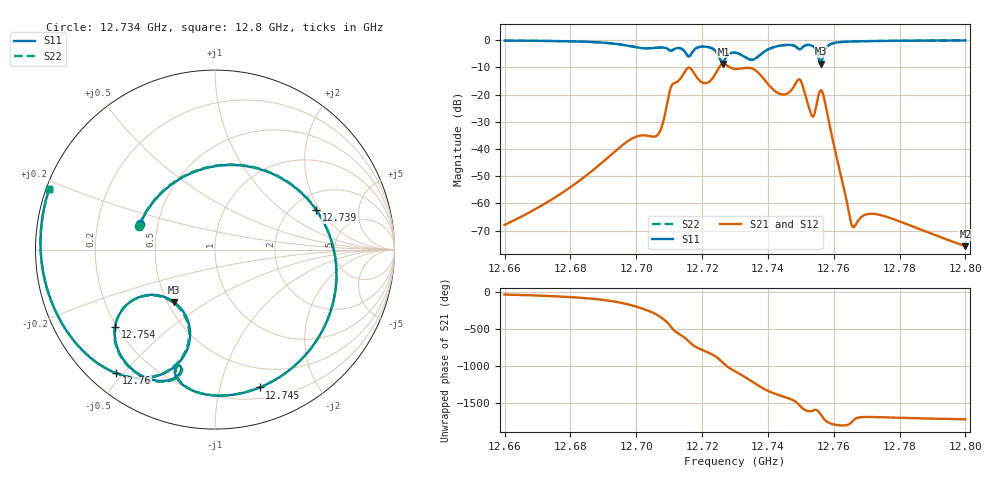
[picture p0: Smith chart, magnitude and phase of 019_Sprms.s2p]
! TOUCHSTONE file generated by CST MICROWAVE STUDIO
! Date and time: Wed Jul 31 11:33:57 2024
! Project name: WaveGuide_BPF-Ver4.1_U-shape_Ku_T3_C4_CWA_2.cst
! Parameters = {cavity_h=16; cavity_l0=10; cavity_l1=15.2333; cavity_l2=16.8782; cavity_l3=17.0892; cavity_l4=17.2301; cavity_l5=17.1553; cavity_l6=17.5868; cavity_r=2.5; cavity_screw_l=0.5; cavity_screw_r=1.5; cavity_w=8; iris_h00=0; iris_h01=8.8009; iris_h112=0; iris_h12=5.5881; iris_h211=3.6536; 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
! Header version: 2018
! Port assignment regex: !\s*Touchstone port\s*([0-9]+)\s*=\s*(CST MWS port|CST DS port)\s*([0-9]+|Zmin|Zmax)\s*\(\"(.*)\"\)(\s*mode\s*([0-9]+))?.*
! Touchstone port assignment:
! Touchstone port 1 = CST MWS port 1 ("")
! Touchstone port 2 = CST MWS port 2 ("")
# GHz S RI R 50
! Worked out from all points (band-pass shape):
!   5001 points, 12.66 GHz to 12.8 GHz, reference 50 ohm
!   highest |S21| = -8.74 dB at 12.726 GHz (marker M1); lowest = -75.7 dB at 12.8 GHz (marker M2)
!   |S21| within 3 dB of the highest: 12.71469 GHz to 12.71732 GHz (2.632 MHz wide, 0.0207 % of centre); 12.72436 GHz to 12.73684 GHz (12.48 MHz wide, 0.098 % of centre)
!   lowest |S11| = -8.6 dB at 12.756 GHz (marker M3), VSWR 2.18, Z = 27.1 - j18.4 ohm
!   |S11| at or under -10 dB: nowhere
!   |S22| runs from -8.5 to -0.1 dB; largest |S21 - S12| = 1e-09
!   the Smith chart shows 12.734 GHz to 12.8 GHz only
!   S11 on the Smith chart (normalised r, x): 12.734 GHz: 0.40, +0.14; 12.739 GHz: 2.64, +1.85; 12.745 GHz: 0.30, -1.33; 12.754 GHz: 0.19, -0.33; 12.76 GHz: 0.08, -0.48; 12.8 GHz: 0.01, +0.18
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12.66  0.3877 0.8972  0.000357 -0.00019  0.000357 -0.00019  0.3885 0.897
12.68335  0.8525 0.3881  0.00082 -0.00267  0.00082 -0.00267  0.8526 0.3883
12.69276  0.8135 -0.2958  -0.00399 -0.0072  -0.00399 -0.0072  0.8137 -0.2957
12.699  0.0879 -0.7512  -0.0159 -7.2e-05  -0.0159 -7.2e-05  0.0866 -0.7512
12.70668  -0.6207 0.377  0.013 0.0134  0.013 0.0134  -0.6212 0.379
12.71116  -0.0698 0.6514  -0.1216 -0.0995  -0.1216 -0.0995  -0.0619 0.6616
12.71536  0.3429 0.4167  0.0542 0.2913  0.0542 0.2913  0.3448 0.4117
12.72045  0.7247 0.2234  0.0544 -0.1538  0.0544 -0.1538  0.7249 0.2252
12.72647  0.3284 -0.2345  -0.1624 0.3275  -0.1624 0.3275  0.3315 -0.2366
12.73  0.0599 -0.5841  0.2932 0.0328  0.2932 0.0328  0.0635 -0.5861
12.73437  -0.4164 0.1449  -0.1017 -0.2922  -0.1017 -0.2922  -0.4242 0.1336
12.73876  0.5631 0.2219  -0.1199 0.151  -0.1199 0.151  0.5545 0.2366
12.74495  0.2487 -0.7681  0.0953 0.0308  0.0953 0.0308  0.2575 -0.7644
12.74966  -0.1998 -0.6444  -0.0281 -0.1875  -0.0281 -0.1875  -0.1943 -0.6474
12.75335  -0.5271 -0.5854  -0.0408 -0.00417  -0.0408 -0.00417  -0.523 -0.5993
12.7543  -0.5555 -0.4294  -0.0442 -0.0184  -0.0442 -0.0184  -0.5607 -0.4506
12.75598  -0.2266 -0.2934  -0.0946 0.0727  -0.0946 0.0727  -0.2601 -0.2782
12.76002  -0.5514 -0.6889  0.012 0.000608  0.012 0.000608  -0.5486 -0.6887
12.76576  -0.829 -0.4494  0.000246 0.000278  0.000246 0.000278  -0.8293 -0.4487
12.77668  -0.963 -0.0911  -7.8e-05 0.000548  -7.8e-05 0.000548  -0.9632 -0.0893
12.79994  -0.9238 0.3369  4.89e-05 0.000158  4.89e-05 0.000158  -0.923 0.339
12.8  -0.9236 0.3376  4.88e-05 0.000157  4.88e-05 0.000157  -0.9228 0.3397
